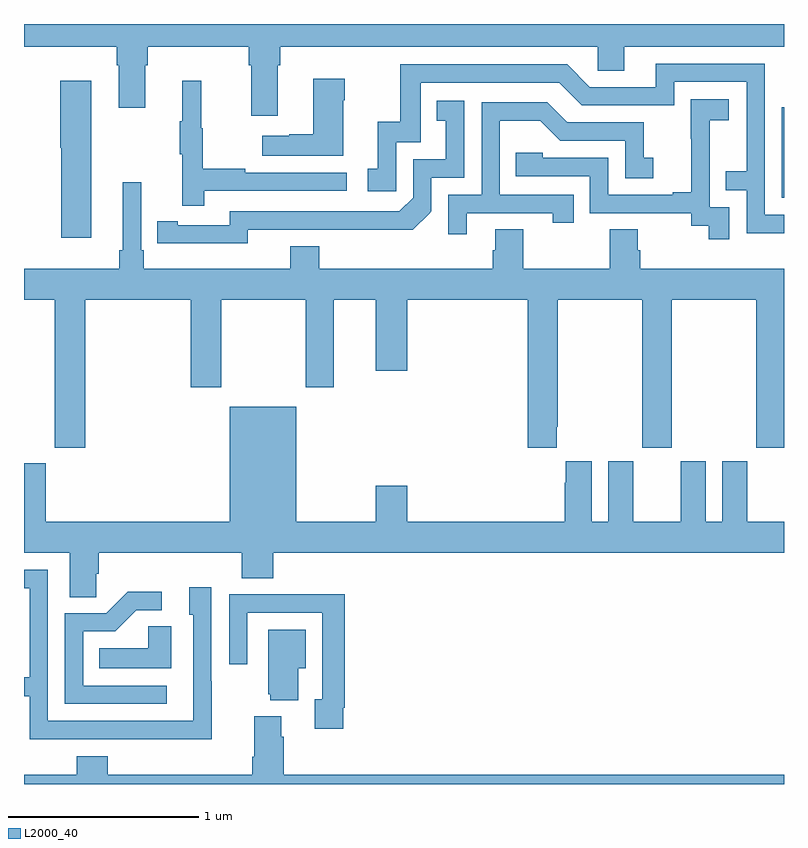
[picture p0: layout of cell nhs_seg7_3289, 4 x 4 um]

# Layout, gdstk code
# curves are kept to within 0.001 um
import gdstk
lib = gdstk.Library(unit=1e-6, precision=1e-09)
def R(c, l, rs):  # rectangles x0, y0, x1, y1
    for r in rs: c.add(gdstk.rectangle(r[:2], r[2:], *l))
def P(c, l, *ps):  # polygons
    for p in ps: c.add(gdstk.Polygon(p, *l))
L2000_40 = (2000, 40)

nhs_seg7_3289 = lib.new_cell('nhs_seg7_3289')
R(nhs_seg7_3289, L2000_40, [(322.989,1069.086,323,1069.563)])
P(nhs_seg7_3289, L2000_40, [(319,1069.88),(319.487,1069.88),(319.487,1069.784),(319.499,1069.784),(319.499,1069.56),(319.639,1069.56),(319.639,1069.784),(319.652,1069.784),(319.652,1069.88),(320.183,1069.88),(320.183,1069.784),(320.195,1069.784),(320.195,1069.518),(320.335,1069.518),(320.335,1069.784),(320.348,1069.784),(320.348,1069.88),(322.02,1069.88),(322.02,1069.753),(322.159,1069.753),(322.159,1069.88),(323,1069.88),(323,1070),(319,1070)],
  [(323,1068.996),(322.899,1068.996),(322.899,1069.791),(322.325,1069.791),(322.325,1069.668),(321.978,1069.668),(321.858,1069.788),(320.979,1069.788),(320.979,1069.486),(320.861,1069.486),(320.861,1069.239),(320.808,1069.239),(320.808,1069.119),(320.958,1069.119),(320.958,1069.377),(321.087,1069.377),(321.087,1069.692),(321.816,1069.692),(321.936,1069.572),(322.422,1069.572),(322.422,1069.695),(322.803,1069.695),(322.803,1069.226),(322.693,1069.226),(322.693,1069.125),(322.803,1069.125),(322.803,1068.9),(323,1068.9)],
  [(320.68,1069.598),(320.688,1069.598),(320.688,1069.711),(320.522,1069.711),(320.522,1069.421),(320.396,1069.421),(320.396,1069.411),(320.253,1069.411),(320.253,1069.307),(320.68,1069.307)],
  [(319.354,1069.702),(319.19,1069.702),(319.19,1069.35),(319.196,1069.35),(319.196,1068.876),(319.354,1068.876)],
  [(319.949,1069.122),(320.698,1069.122),(320.698,1069.218),(320.165,1069.218),(320.165,1069.238),(319.942,1069.238),(319.942,1069.452),(319.934,1069.452),(319.934,1069.702),(319.832,1069.702),(319.832,1069.489),(319.821,1069.489),(319.821,1069.315),(319.832,1069.315),(319.832,1069.044),(319.949,1069.044)],
  [(322.713,1069.035),(322.608,1069.035),(322.608,1069.265),(322.61,1069.265),(322.61,1069.493),(322.708,1069.493),(322.708,1069.603),(322.51,1069.603),(322.51,1069.397),(322.511,1069.397),(322.511,1069.114),(322.415,1069.114),(322.415,1069.101),(322.074,1069.101),(322.074,1069.296),(321.729,1069.296),(321.729,1069.323),(321.589,1069.323),(321.589,1069.2),(321.978,1069.2),(321.978,1069.005),(322.512,1069.005),(322.512,1068.937),(322.605,1068.937),(322.605,1068.867),(322.713,1068.867)],
  [(320.178,1068.918),(321.046,1068.917),(321.144,1069.014),(321.144,1069.191),(321.318,1069.191),(321.318,1069.597),(321.172,1069.597),(321.172,1069.491),(321.221,1069.491),(321.221,1069.287),(321.048,1069.287),(321.048,1069.086),(320.976,1069.014),(320.082,1069.014),(320.082,1068.942),(319.81,1068.942),(319.81,1068.962),(319.702,1068.962),(319.702,1068.846),(320.178,1068.845)],
  [(321.331,1069.005),(321.782,1069.005),(321.782,1068.954),(321.893,1068.954),(321.893,1069.101),(321.504,1069.101),(321.504,1069.49),(321.718,1069.49),(321.822,1069.386),(322.164,1069.386),(322.164,1069.188),(322.312,1069.188),(322.312,1069.297),(322.263,1069.297),(322.263,1069.482),(321.859,1069.482),(321.754,1069.587),(321.408,1069.587),(321.408,1069.101),(321.234,1069.101),(321.234,1068.894),(321.331,1068.894)],
  [(319.322,1068.548),(319.877,1068.548),(319.877,1068.087),(320.037,1068.087),(320.037,1068.548),(320.482,1068.548),(320.482,1068.087),(320.629,1068.087),(320.629,1068.548),(320.852,1068.548),(320.852,1068.174),(321.016,1068.174),(321.016,1068.548),(321.65,1068.548),(321.65,1067.769),(321.805,1067.769),(321.805,1067.881),(321.81,1067.881),(321.81,1068.548),(322.255,1068.548),(322.255,1067.769),(322.41,1067.769),(322.41,1068.548),(322.855,1068.548),(322.855,1067.769),(323,1067.769),(323,1068.712),(322.244,1068.712),(322.244,1068.81),(322.231,1068.81),(322.231,1068.92),(322.084,1068.92),(322.084,1068.712),(321.627,1068.712),(321.627,1068.92),(321.479,1068.92),(321.479,1068.81),(321.467,1068.81),(321.467,1068.712),(320.555,1068.712),(320.555,1068.829),(320.402,1068.829),(320.402,1068.712),(319.631,1068.712),(319.631,1068.808),(319.617,1068.808),(319.617,1069.168),(319.52,1069.168),(319.52,1068.808),(319.501,1068.808),(319.501,1068.712),(319,1068.712),(319,1068.548),(319.162,1068.548),(319.162,1067.769),(319.322,1067.769)],
  [(323,1067.38),(322.807,1067.38),(322.807,1067.698),(322.676,1067.698),(322.676,1067.38),(322.588,1067.38),(322.588,1067.698),(322.457,1067.698),(322.457,1067.38),(322.207,1067.38),(322.207,1067.698),(322.076,1067.698),(322.076,1067.38),(321.988,1067.38),(321.988,1067.698),(321.851,1067.698),(321.851,1067.585),(321.845,1067.585),(321.845,1067.38),(321.016,1067.38),(321.016,1067.569),(320.852,1067.569),(320.852,1067.38),(320.434,1067.38),(320.434,1067.986),(320.084,1067.986),(320.084,1067.38),(319.114,1067.38),(319.114,1067.689),(319,1067.689),(319,1067.216),(319.241,1067.216),(319.241,1066.984),(319.38,1066.984),(319.38,1067.107),(319.394,1067.107),(319.394,1067.216),(320.147,1067.216),(320.147,1067.083),(320.312,1067.083),(320.312,1067.216),(323,1067.216)],
  [(319.989,1066.541),(319.986,1066.541),(319.986,1067.035),(319.871,1067.035),(319.871,1066.89),(319.89,1066.89),(319.89,1066.332),(319.125,1066.332),(319.125,1067.127),(319,1067.127),(319,1067.031),(319.029,1067.031),(319.029,1066.562),(319,1066.562),(319,1066.461),(319.029,1066.461),(319.029,1066.236),(319.525,1066.236),(319.525,1066.235),(319.989,1066.235)],
  [(319.75,1066.518),(319.311,1066.518),(319.311,1066.803),(319.48,1066.803),(319.591,1066.914),(319.726,1066.914),(319.726,1067.012),(319.547,1067.012),(319.434,1066.899),(319.215,1066.899),(319.215,1066.422),(319.75,1066.422)],
  [(320.68,1066.402),(320.687,1066.402),(320.687,1067),(320.395,1067),(320.395,1066.998),(320.079,1066.998),(320.079,1066.629),(320.175,1066.629),(320.175,1066.902),(320.571,1066.902),(320.571,1066.446),(320.531,1066.446),(320.531,1066.29),(320.68,1066.29)],
  [(319.774,1066.829),(319.653,1066.829),(319.653,1066.714),(319.396,1066.714),(319.396,1066.61),(319.774,1066.61)],
  [(320.443,1066.61),(320.482,1066.61),(320.482,1066.813),(320.285,1066.813),(320.285,1066.473),(320.297,1066.473),(320.297,1066.442),(320.443,1066.442)],
  [(323,1066.048),(320.366,1066.048),(320.366,1066.25),(320.353,1066.25),(320.353,1066.357),(320.213,1066.357),(320.213,1066.144),(320.201,1066.144),(320.201,1066.048),(319.442,1066.048),(319.442,1066.147),(319.277,1066.147),(319.277,1066.048),(319,1066.048),(319,1066),(323,1066)])

lib.write_gds('nhs_seg7_3289.gds')
